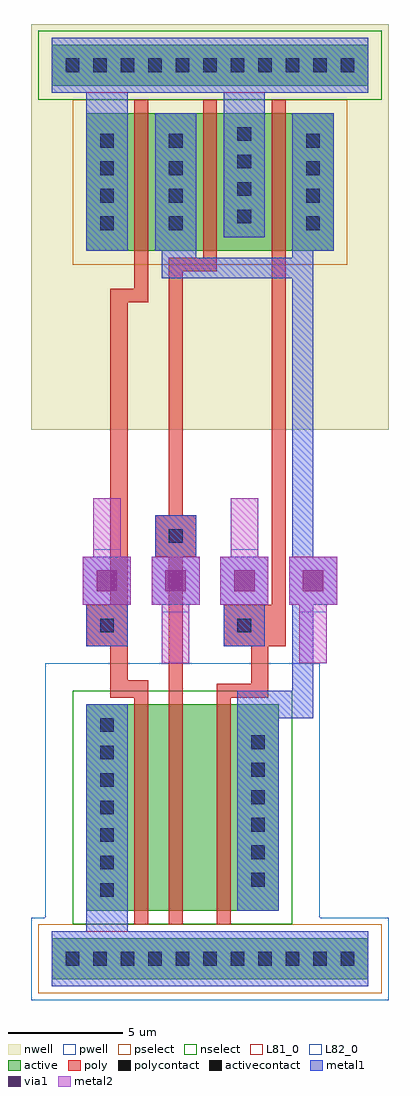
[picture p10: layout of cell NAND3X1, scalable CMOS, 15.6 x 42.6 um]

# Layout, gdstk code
import gdstk
lib = gdstk.Library(unit=1e-6, precision=1e-09)
def R(c, l, rs):  # rectangles x0, y0, x1, y1
    for r in rs: c.add(gdstk.rectangle(r[:2], r[2:], *l))
def A(c, l, x, y, w, h, nx, ny, dx, dy):  # array of equal rectangles
    R(c, l, [(x+i*dx, y+j*dy, x+i*dx+w, y+j*dy+h) for i in range(nx) for j in range(ny)])
pwell = (41, 0)
nwell = (42, 0)
active = (43, 0)
pselect = (44, 0)
nselect = (45, 0)
poly = (46, 0)
polycontact = (47, 0)
activecontact = (48, 0)
metal1 = (49, 0)
via1 = (50, 0)
metal2 = (51, 0)
L81_0 = (81, 0)
L82_0 = (82, 0)

nand3x1 = lib.new_cell('NAND3X1')
R(nand3x1, pwell, [(-1.8,-1.8,13.8,1.8), (-1.2,1.8,10.8,12.9)])
R(nand3x1, nwell, [(-1.8,23.1,13.8,40.8)])
R(nand3x1, active, [(-0.9,-0.9,12.9,0.9), (0.6,2.1,9,11.1), (0.6,30.9,11.4,36.9), (-0.9,38.1,12.9,39.9)])
R(nand3x1, pselect, [(-1.5,-1.5,13.5,1.5), (0,30.3,12,37.5)])
R(nand3x1, nselect, [(0,1.5,9.6,11.7), (-1.5,37.5,13.5,40.5)])
R(nand3x1, poly, [(2.7,1.5,3.3,11.4), (4.2,1.5,4.8,17.55), (6.3,1.5,6.9,11.4), (1.65,11.4,3.3,12.15), (6.3,11.4,8.55,12), (7.8,12,8.55,13.65), (1.65,12.15,2.4,13.65), (0.6,13.65,2.4,15.45), (6.6,13.65,9.3,15.45), (1.65,15.45,2.4,28.65), (8.7,15.45,9.3,37.5), (3.6,17.55,5.4,19.35), (4.2,19.35,4.8,30), (1.65,28.65,3.3,29.25), (2.7,29.25,3.3,37.5), (4.2,30,6.3,30.6), (5.7,30.6,6.3,37.5)])
R(nand3x1, polycontact, [(1.2,14.25,1.8,14.85), (7.2,14.25,7.8,14.85), (4.2,18.15,4.8,18.75)])
A(nand3x1, activecontact, -0.3, -0.3, 0.6, 0.6, 11, 2, 1.2, 39)
A(nand3x1, activecontact, 1.2, 2.7, 0.6, 0.6, 1, 7, 0, 1.2)
A(nand3x1, activecontact, 7.8, 3.15, 0.6, 0.6, 1, 6, 0, 1.2)
A(nand3x1, activecontact, 1.2, 31.8, 0.6, 0.6, 1, 4, 0, 1.2)
A(nand3x1, activecontact, 4.2, 31.8, 0.6, 0.6, 1, 4, 0, 1.2)
A(nand3x1, activecontact, 10.2, 31.8, 0.6, 0.6, 1, 4, 0, 1.2)
A(nand3x1, activecontact, 7.2, 32.1, 0.6, 0.6, 1, 4, 0, 1.2)
A(nand3x1, metal1, 0.45, 15.45, 2.1, 2.1, 4, 1, 3, 0)
R(nand3x1, metal1, [(-0.9,-1.2,12.9,1.2), (0.6,1.2,2.4,11.1), (7.2,2.1,9,10.5), (7.2,10.5,10.5,11.7), (9.6,11.7,10.5,15.45), (0.6,13.65,2.4,15.45), (6.6,13.65,8.4,15.45), (3.6,17.55,5.4,19.35), (9.6,17.55,10.5,29.7), (3.9,29.7,10.5,30.6), (3.9,30.6,5.4,30.9), (9.6,30.6,10.5,30.9), (0.6,30.9,2.4,37.8), (3.6,30.9,5.4,36.9), (9.6,30.9,11.4,36.9), (6.6,31.5,8.4,37.8), (-0.9,37.8,12.9,40.2)])
A(nand3x1, via1, 1.05, 16.05, 0.9, 0.9, 4, 1, 3, 0)
A(nand3x1, metal2, 0.45, 15.45, 2.1, 2.1, 4, 1, 3, 0)
R(nand3x1, metal2, [(3.9,12.9,5.1,15.45), (9.9,12.9,11.1,15.45), (0.9,17.55,2.1,20.1), (6.9,17.55,8.1,20.1)])
R(nand3x1, L81_0, [(-0.9,-1.2,12.9,1.2), (-0.9,37.8,12.9,40.2)])
R(nand3x1, L82_0, [(3.9,12.9,5.1,15.15), (9.9,12.9,11.1,15.15), (0.9,17.85,2.1,20.1), (6.9,17.85,8.1,20.1)])

lib.write_gds('NAND3X1.gds')
